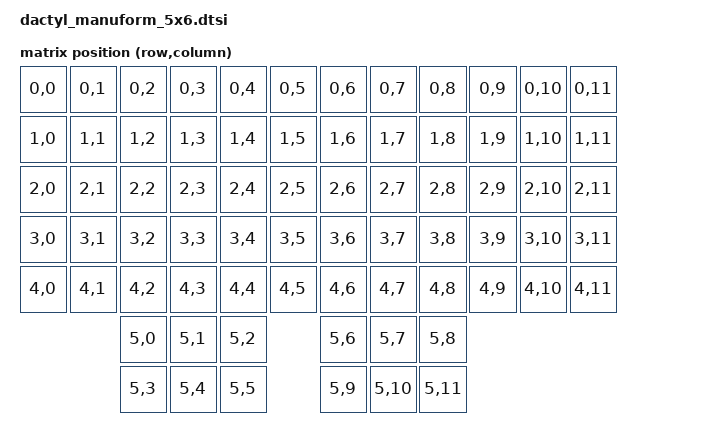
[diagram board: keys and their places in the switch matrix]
/*
 * Dactyl Manuform 5x6 — Shared shield definition
 *
 * Physical layout per half:
 *   5 main rows × 6 columns = 30 keys
 *   6 thumb keys (2 rows × 3 cols) wired into row 5
 *   Total: 36 keys per half, 72 keys combined
 *
 * Matrix logical addressing:
 *   Cols  0-5  = left half
 *   Cols  6-11 = right half
 *   Rows  0-4  = main finger cluster
 *   Row   5    = thumb cluster (cols 0-2 inner, 3-5 outer per side)
 *
 * Keymap position order (matches bindings array in .keymap):
 *   Row 0:  L0  L1  L2  L3  L4  L5  |  R0  R1  R2  R3  R4  R5   (12 keys)
 *   Row 1:  L0  L1  L2  L3  L4  L5  |  R0  R1  R2  R3  R4  R5   (12 keys)
 *   Row 2:  L0  L1  L2  L3  L4  L5  |  R0  R1  R2  R3  R4  R5   (12 keys)
 *   Row 3:  L0  L1  L2  L3  L4  L5  |  R0  R1  R2  R3  R4  R5   (12 keys)
 *   Row 4:  L0  L1  L2  L3  L4  L5  |  R0  R1  R2  R3  R4  R5   (12 keys)
 *   Thumb:  LI0 LI1 LI2             |  RI0 RI1 RI2               (6 keys, inner row)
 *           LO0 LO1 LO2             |  RO0 RO1 RO2               (6 keys, outer row)
 *   Total: 72 keys
 */

#include <dt-bindings/zmk/matrix_transform.h>

/ {
    chosen {
        zmk,kscan = &kscan0;
        zmk,matrix_transform = &default_transform;
    };

    default_transform: keymap_transform_0 {
        compatible = "zmk,matrix-transform";
        columns = <12>;
        rows = <6>;

        /*
         * The map lists RC(row, col) entries in the order keys appear
         * in the keymap bindings array. Left half uses cols 0-5,
         * right half uses cols 6-11.
         *
         * Thumb cluster (row 5):
         *   Inner row: cols 0-2 (left),  cols 6-8  (right)
         *   Outer row: cols 3-5 (left),  cols 9-11 (right)
         *
         * Adjust thumb col numbering below to match your physical wiring.
         */
        map = <
/* Row 0 — number/symbol row */
RC(0,0)  RC(0,1)  RC(0,2)  RC(0,3)  RC(0,4)  RC(0,5)    RC(0,6)  RC(0,7)  RC(0,8)  RC(0,9)  RC(0,10) RC(0,11)
/* Row 1 — QWERTY top row */
RC(1,0)  RC(1,1)  RC(1,2)  RC(1,3)  RC(1,4)  RC(1,5)    RC(1,6)  RC(1,7)  RC(1,8)  RC(1,9)  RC(1,10) RC(1,11)
/* Row 2 — Home row */
RC(2,0)  RC(2,1)  RC(2,2)  RC(2,3)  RC(2,4)  RC(2,5)    RC(2,6)  RC(2,7)  RC(2,8)  RC(2,9)  RC(2,10) RC(2,11)
/* Row 3 — Bottom row */
RC(3,0)  RC(3,1)  RC(3,2)  RC(3,3)  RC(3,4)  RC(3,5)    RC(3,6)  RC(3,7)  RC(3,8)  RC(3,9)  RC(3,10) RC(3,11)
/* Row 4 — Modifier/nav row */
RC(4,0)  RC(4,1)  RC(4,2)  RC(4,3)  RC(4,4)  RC(4,5)    RC(4,6)  RC(4,7)  RC(4,8)  RC(4,9)  RC(4,10) RC(4,11)
/* Row 5 — Thumb cluster, inner row */
                  RC(5,0)  RC(5,1)  RC(5,2)              RC(5,6)  RC(5,7)  RC(5,8)
/* Row 5 — Thumb cluster, outer row */
                  RC(5,3)  RC(5,4)  RC(5,5)              RC(5,9)  RC(5,10) RC(5,11)
        >;
    };
};
